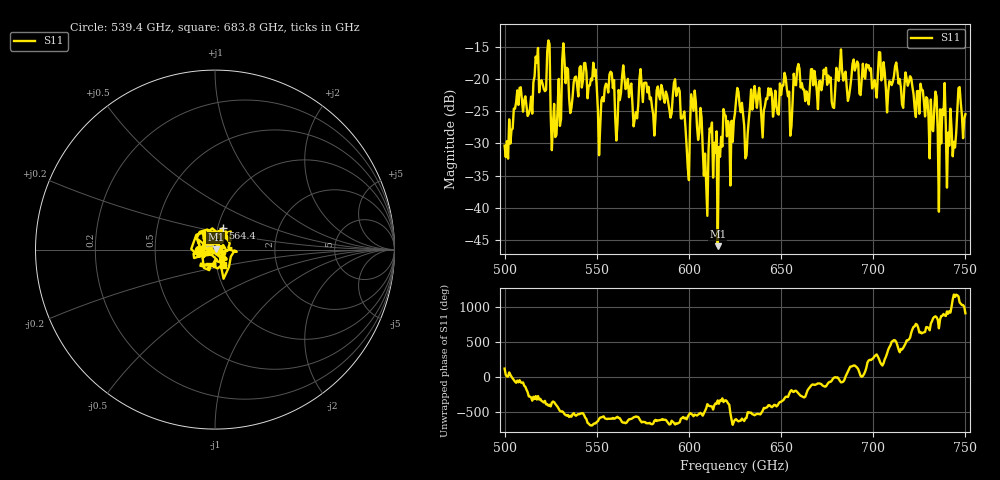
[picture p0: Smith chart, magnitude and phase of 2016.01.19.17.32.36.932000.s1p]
!Created with skrf (http://scikit-rf.org).
# GHz S RI R 50.0
!freq ReS11 ImS11
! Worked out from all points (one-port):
!   401 points, 500 GHz to 750 GHz, reference 50 ohm
!   lowest |S11| = -45.9 dB at 615.6 GHz (marker M1), VSWR 1.01, Z = 50.4 + j0.24 ohm
!   |S11| at or under -10 dB: start of sweep to end of sweep
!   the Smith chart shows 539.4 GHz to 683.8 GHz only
!   S11 on the Smith chart (normalised r, x): 539.4 GHz: 0.84, -0.01; 564.4 GHz: 1.06, +0.26; 683.8 GHz: 1.07, -0.19
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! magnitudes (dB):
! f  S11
! 500 GHz  -30.3
! 507.5 GHz  -24.0
! 513.8 GHz  -24.7
! 516.9 GHz  -16.5
! 523.1 GHz  -15.8
! 526.9 GHz  -23.9
! 531.2 GHz  -17.1
! 539.4 GHz  -21.1
! 548.8 GHz  -19.6
! 551.9 GHz  -27.3
! 556.9 GHz  -19.3
! 562.5 GHz  -23.3
! 564.4 GHz  -17.9
! 570.6 GHz  -26.2
! 574.4 GHz  -21.1
! 593.8 GHz  -21.9
! 599.4 GHz  -33.7
! 602.5 GHz  -24.9
! 608.8 GHz  -31.6
! 612.5 GHz  -26.8
! 615.6 GHz  -45.9
! 625 GHz  -25.3
! 656.2 GHz  -23.6
! 683.8 GHz  -20.3
! 687.5 GHz  -21.3
! 718.8 GHz  -21.1
! 736.2 GHz  -24.7
! 750 GHz  -25.5
